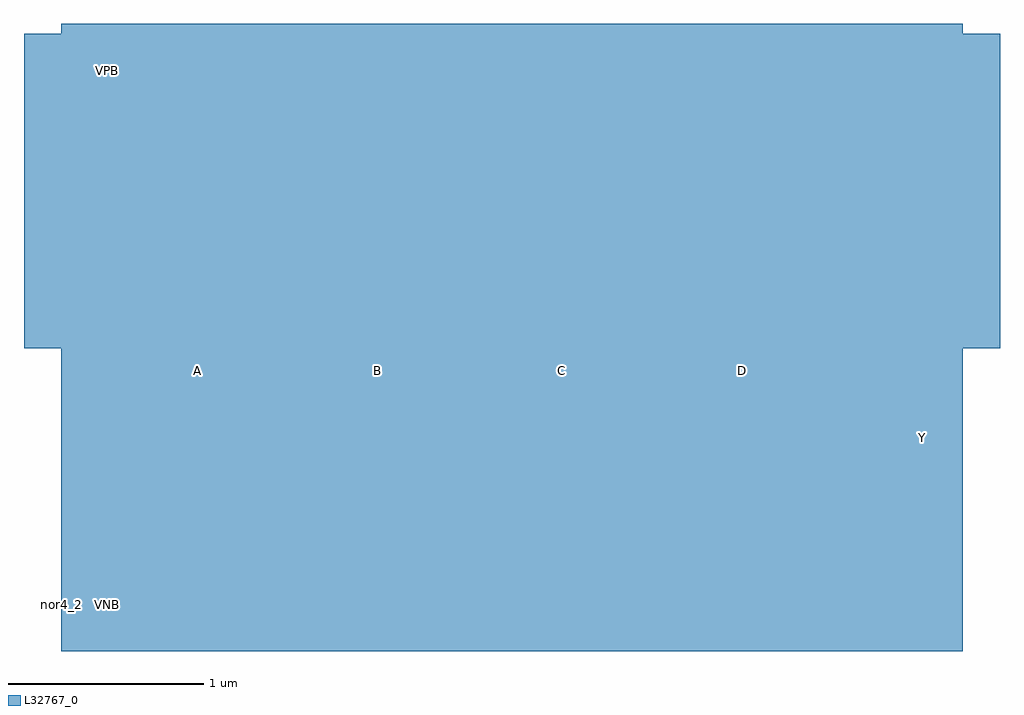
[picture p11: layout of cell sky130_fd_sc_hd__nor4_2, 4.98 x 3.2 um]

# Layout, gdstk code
import gdstk
lib = gdstk.Library(unit=1e-6, precision=1e-09)
def R(c, l, rs):  # rectangles x0, y0, x1, y1
    for r in rs: c.add(gdstk.rectangle(r[:2], r[2:], *l))
def A(c, l, x, y, w, h, nx, ny, dx, dy):  # array of equal rectangles
    R(c, l, [(x+i*dx, y+j*dy, x+i*dx+w, y+j*dy+h) for i in range(nx) for j in range(ny)])
def P(c, l, *ps):  # polygons
    for p in ps: c.add(gdstk.Polygon(p, *l))
L32767_0 = (32767, 0)

sky130_fd_sc_hd__nor4_2 = lib.new_cell('sky130_fd_sc_hd__nor4_2')
A(sky130_fd_sc_hd__nor4_2, L32767_0, 0.605, -0.085, 0.17, 0.17, 9, 2, 0.46, 2.72)
A(sky130_fd_sc_hd__nor4_2, L32767_0, 0.195, 0.305, 0.17, 0.17, 5, 2, 0.42, 1.57)
A(sky130_fd_sc_hd__nor4_2, L32767_0, 2.435, 0.305, 0.17, 0.17, 5, 2, 0.42, 1.57)
A(sky130_fd_sc_hd__nor4_2, L32767_0, 0.195, 1.535, 0.17, 0.17, 3, 1, 0.84, 0)
A(sky130_fd_sc_hd__nor4_2, L32767_0, 0.195, 2.215, 0.17, 0.17, 4, 1, 0.42, 0)
R(sky130_fd_sc_hd__nor4_2, L32767_0, [(0,-0.19,4.6,1.015), (0.145,-0.085,0.315,0.085), (0.15,-0.085,0.32,0.085), (0.15,-0.085,0.32,0.085), (0,0,4.6,2.72), (0,0,4.6,2.72), (0.135,0.235,2.105,0.885), (2.375,0.235,4.325,0.885), (0.195,0.645,0.365,0.815), (0.615,0.645,0.785,0.815), (1.455,0.645,1.625,0.815), (2.855,0.645,3.025,0.815), (3.695,0.645,3.865,0.815), (4.31,0.765,4.48,0.935), (0,0.975,4.6,1.345), (0.2,1.075,0.965,1.285), (0.56,1.075,0.73,1.245), (1.135,1.075,1.94,1.285), (1.44,1.075,1.61,1.245), (2.21,1.075,3.105,1.285), (2.855,1.075,3.025,1.245), (3.34,1.075,3.925,1.285), (3.675,1.075,3.845,1.245), (0.61,1.105,0.78,1.275), (1.53,1.105,1.7,1.275), (2.47,1.105,2.64,1.275), (3.39,1.105,3.56,1.275), (0,1.25,4.6,2.72), (-0.19,1.305,4.79,2.91), (0,1.355,4.6,2.91), (0.135,1.485,2.105,2.485), (2.375,1.485,4.325,2.485), (2.435,1.535,2.605,1.705), (3.275,1.535,3.445,1.705), (3.695,1.535,3.865,1.705), (2.855,2.215,3.025,2.385), (3.275,2.215,3.445,2.385), (4.115,2.215,4.285,2.385), (0.145,2.635,0.315,2.805), (0.15,2.635,0.32,2.805), (0.15,2.635,0.32,2.805)])
P(sky130_fd_sc_hd__nor4_2, L32767_0, [(3.225,2.615),(3.075,2.615),(3.075,1.325),(2.805,1.325),(2.805,2.615),(2.655,2.615),(2.655,0.105),(2.805,0.105),(2.805,0.995),(3.075,0.995),(3.075,0.105),(3.225,0.105)],
  [(1.825,2.615),(1.675,2.615),(1.675,1.325),(1.405,1.325),(1.405,2.615),(1.255,2.615),(1.255,0.105),(1.405,0.105),(1.405,0.995),(1.675,0.995),(1.675,0.105),(1.825,0.105)],
  [(4.065,2.615),(3.915,2.615),(3.915,1.325),(3.645,1.325),(3.645,2.615),(3.495,2.615),(3.495,0.105),(3.645,0.105),(3.645,0.995),(3.915,0.995),(3.915,0.105),(4.065,0.105)],
  [(0.985,2.615),(0.835,2.615),(0.835,1.325),(0.565,1.325),(0.565,2.615),(0.415,2.615),(0.415,0.105),(0.565,0.105),(0.565,0.995),(0.835,0.995),(0.835,0.105),(0.985,0.105)],
  [(4.6,0.085),(4.405,0.085),(4.405,0.555),(4.115,0.555),(4.115,0.085),(3.445,0.085),(3.445,0.555),(3.275,0.555),(3.275,0.085),(2.605,0.085),(2.605,0.555),(1.875,0.555),(1.875,0.085),(1.205,0.085),(1.205,0.555),(1.035,0.555),(1.035,0.085),(0.365,0.085),(0.365,0.905),(0.09,0.905),(0.09,0.085),(0,0.085),(0,-0.085),(4.6,-0.085)],
  [(4.6,2.805),(0,2.805),(0,2.635),(0.575,2.635),(0.575,1.795),(0.825,1.795),(0.825,2.635),(4.6,2.635)],
  [(2.085,2.125),(1.835,2.125),(1.835,1.625),(1.245,1.625),(1.245,2.465),(0.995,2.465),(0.995,1.625),(0.405,1.625),(0.405,2.465),(0.15,2.465),(0.15,1.455),(2.085,1.455)],
  [(3.065,2.465),(1.415,2.465),(1.415,1.795),(1.665,1.795),(1.665,2.295),(2.815,2.295),(2.815,1.795),(3.065,1.795)],
  [(4.325,2.465),(3.235,2.465),(3.235,1.625),(2.645,1.625),(2.645,2.125),(2.395,2.125),(2.395,1.455),(3.485,1.455),(3.485,2.295),(4.075,2.295),(4.075,1.795),(4.325,1.795)],
  [(4.515,1.625),(3.905,1.625),(3.905,2.125),(3.655,2.125),(3.655,1.455),(4.18,1.455),(4.18,0.905),(0.535,0.905),(0.535,0.255),(0.865,0.255),(0.865,0.725),(1.375,0.725),(1.375,0.255),(1.705,0.255),(1.705,0.725),(2.775,0.725),(2.775,0.255),(3.105,0.255),(3.105,0.725),(3.615,0.725),(3.615,0.255),(3.945,0.255),(3.945,0.725),(4.515,0.725)])
sky130_fd_sc_hd__nor4_2.add(gdstk.FlexPath([(0,2.72),(4.6,2.72)], 0.48, ends="flush", simple_path=True, layer=32767, datatype=0))  # L32767_0
sky130_fd_sc_hd__nor4_2.add(gdstk.FlexPath([(0,0),(4.6,0)], 0.48, ends="flush", simple_path=True, layer=32767, datatype=0))  # L32767_0
sky130_fd_sc_hd__nor4_2.add(gdstk.Label('C', (2.555,1.19), layer=32767, texttype=5))
sky130_fd_sc_hd__nor4_2.add(gdstk.Label('D', (3.475,1.19), layer=32767, texttype=5))
sky130_fd_sc_hd__nor4_2.add(gdstk.Label('Y', (4.395,0.85), layer=32767, texttype=5))
sky130_fd_sc_hd__nor4_2.add(gdstk.Label('A', (0.695,1.19), layer=32767, texttype=5))
sky130_fd_sc_hd__nor4_2.add(gdstk.Label('B', (1.615,1.19), layer=32767, texttype=5))
sky130_fd_sc_hd__nor4_2.add(gdstk.Label('VNB', (0.235,0), layer=32767, texttype=59))
sky130_fd_sc_hd__nor4_2.add(gdstk.Label('VPB', (0.235,2.72), layer=32767, texttype=5))
sky130_fd_sc_hd__nor4_2.add(gdstk.Label('VGND', (0.23,0), layer=32767, texttype=5))
sky130_fd_sc_hd__nor4_2.add(gdstk.Label('VPWR', (0.23,2.72), layer=32767, texttype=5))
sky130_fd_sc_hd__nor4_2.add(gdstk.Label('nor4_2', (0,0), layer=32767, texttype=44))

lib.write_gds('sky130_fd_sc_hd__nor4_2.gds')
